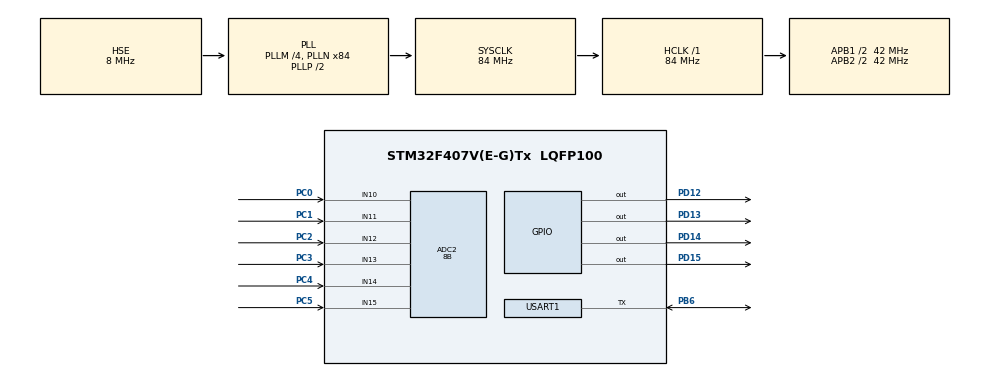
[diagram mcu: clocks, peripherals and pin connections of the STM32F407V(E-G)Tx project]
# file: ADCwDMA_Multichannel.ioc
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ADC2.Channel-0\#ChannelRegularConversion=ADC_CHANNEL_10
ADC2.Channel-1\#ChannelRegularConversion=ADC_CHANNEL_11
ADC2.Channel-2\#ChannelRegularConversion=ADC_CHANNEL_12
ADC2.Channel-3\#ChannelRegularConversion=ADC_CHANNEL_13
ADC2.Channel-4\#ChannelRegularConversion=ADC_CHANNEL_14
ADC2.Channel-5\#ChannelRegularConversion=ADC_CHANNEL_15
ADC2.ClockPrescaler=ADC_CLOCK_SYNC_PCLK_DIV4
ADC2.ContinuousConvMode=ENABLE
ADC2.DMAContinuousRequests=ENABLE
ADC2.DataAlign=ADC_DATAALIGN_RIGHT
ADC2.DiscontinuousConvMode=DISABLE
ADC2.EOCSelection=ADC_EOC_SINGLE_CONV
ADC2.EnableAnalogWatchDog=false
ADC2.ExternalTrigConv=ADC_SOFTWARE_START
ADC2.ExternalTrigConvEdge=ADC_EXTERNALTRIGCONVEDGE_NONE
ADC2.InjNumberOfConversion=0
ADC2.NbrOfConversion=6
ADC2.NbrOfConversionFlag=1
ADC2.Rank-0\#ChannelRegularConversion=1
ADC2.Rank-1\#ChannelRegularConversion=2
ADC2.Rank-2\#ChannelRegularConversion=3
ADC2.Rank-3\#ChannelRegularConversion=4
ADC2.Rank-4\#ChannelRegularConversion=5
ADC2.Rank-5\#ChannelRegularConversion=6
ADC2.Resolution=ADC_RESOLUTION_8B
ADC2.SamplingTime-0\#ChannelRegularConversion=ADC_SAMPLETIME_3CYCLES
ADC2.SamplingTime-1\#ChannelRegularConversion=ADC_SAMPLETIME_3CYCLES
ADC2.SamplingTime-2\#ChannelRegularConversion=ADC_SAMPLETIME_3CYCLES
ADC2.SamplingTime-3\#ChannelRegularConversion=ADC_SAMPLETIME_3CYCLES
ADC2.SamplingTime-4\#ChannelRegularConversion=ADC_SAMPLETIME_3CYCLES
ADC2.SamplingTime-5\#ChannelRegularConversion=ADC_SAMPLETIME_3CYCLES
ADC2.ScanConvMode=ENABLE
Dma.ADC2.0.Direction=DMA_PERIPH_TO_MEMORY
Dma.ADC2.0.FIFOMode=DMA_FIFOMODE_DISABLE
Dma.ADC2.0.Instance=DMA2_Stream3
Dma.ADC2.0.MemDataAlignment=DMA_MDATAALIGN_BYTE
Dma.ADC2.0.MemInc=DMA_MINC_ENABLE
Dma.ADC2.0.Mode=DMA_CIRCULAR
Dma.ADC2.0.PeriphDataAlignment=DMA_PDATAALIGN_BYTE
Dma.ADC2.0.PeriphInc=DMA_PINC_DISABLE
Dma.ADC2.0.Priority=DMA_PRIORITY_LOW
Dma.Request0=ADC2
Mcu.Family=STM32F4
Mcu.Name=STM32F407V(E-G)Tx
Mcu.Package=LQFP100
NVIC.DMA2_Stream3_IRQn=true\:0\:0\:false\:false\:true\:false
NVIC.PriorityGroup=NVIC_PRIORITYGROUP_4
PB6.Mode=Half_duplex(single_wire_mode)
PB6.Signal=USART1_TX
PC0.Signal=ADCx_IN10
PC1.Signal=ADCx_IN11
PC2.Signal=ADCx_IN12
PC3.Signal=ADCx_IN13
PC4.Signal=ADCx_IN14
PC5.Signal=ADCx_IN15
PD12.Signal=GPIO_Output
PD13.Signal=GPIO_Output
PD14.Signal=GPIO_Output
PD15.Signal=GPIO_Output
PH0-OSC_IN.Mode=HSE-External-Oscillator
PH0-OSC_IN.Signal=RCC_OSC_IN
PH1-OSC_OUT.Mode=HSE-External-Oscillator
PH1-OSC_OUT.Signal=RCC_OSC_OUT
ProjectManager.HeapSize=0x200
ProjectManager.StackSize=0x400
ProjectManager.TargetToolchain=SW4STM32
RCC.48MHZClocksFreq_Value=42000000
RCC.AHBFreq_Value=84000000
RCC.APB1CLKDivider=RCC_HCLK_DIV2
RCC.APB1Freq_Value=42000000
RCC.APB1TimFreq_Value=84000000
RCC.APB2CLKDivider=RCC_HCLK_DIV2
RCC.APB2Freq_Value=42000000
RCC.APB2TimFreq_Value=84000000
RCC.CortexFreq_Value=84000000
RCC.HCLKFreq_Value=84000000
RCC.HSE_VALUE=8000000
RCC.HSI_VALUE=16000000
RCC.LSE_VALUE=32768
RCC.PLLM=4
RCC.PLLN=84
RCC.PLLSourceVirtual=RCC_PLLSOURCE_HSE
RCC.SYSCLKFreq_VALUE=84000000
RCC.SYSCLKSource=RCC_SYSCLKSOURCE_PLLCLK
RCC.VCOOutputFreq_Value=168000000
SH.ADCx_IN10.0=ADC2_IN10,IN10
SH.ADCx_IN11.0=ADC2_IN11,IN11
SH.ADCx_IN12.0=ADC2_IN12,IN12
SH.ADCx_IN13.0=ADC2_IN13,IN13
SH.ADCx_IN14.0=ADC2_IN14,IN14
SH.ADCx_IN15.0=ADC2_IN15,IN15
USART1.VirtualMode=VM_ASYNC
board=ADCwDMA_Multichannel

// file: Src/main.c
/**
  ******************************************************************************
  * @file           : main.c
  * @brief          : Main program body
  ******************************************************************************
  ** This notice applies to any and all portions of this file
  * that are not between comment pairs USER CODE BEGIN and
  * USER CODE END. Other portions of this file, whether
  * inserted by the user or by software development tools
  * are owned by their respective copyright owners.
  *
  * COPYRIGHT(c) 2018 STMicroelectronics
  *
  * Redistribution and use in source and binary forms, with or without modification,
  * are permitted provided that the following conditions are met:
  *   1. Redistributions of source code must retain the above copyright notice,
  *      this list of conditions and the following disclaimer.
  *   2. Redistributions in binary form must reproduce the above copyright notice,
  *      this list of conditions and the following disclaimer in the documentation
  *      and/or other materials provided with the distribution.
  *   3. Neither the name of STMicroelectronics nor the names of its contributors
  *      may be used to endorse or promote products derived from this software
  *      without specific prior written permission.
  *
  * THIS SOFTWARE IS PROVIDED BY THE COPYRIGHT HOLDERS AND CONTRIBUTORS "AS IS"
  * AND ANY EXPRESS OR IMPLIED WARRANTIES, INCLUDING, BUT NOT LIMITED TO, THE
  * IMPLIED WARRANTIES OF MERCHANTABILITY AND FITNESS FOR A PARTICULAR PURPOSE ARE
  * DISCLAIMED. IN NO EVENT SHALL THE COPYRIGHT HOLDER OR CONTRIBUTORS BE LIABLE
  * FOR ANY DIRECT, INDIRECT, INCIDENTAL, SPECIAL, EXEMPLARY, OR CONSEQUENTIAL
  * DAMAGES (INCLUDING, BUT NOT LIMITED TO, PROCUREMENT OF SUBSTITUTE GOODS OR
  * SERVICES; LOSS OF USE, DATA, OR PROFITS; OR BUSINESS INTERRUPTION) HOWEVER
  * CAUSED AND ON ANY THEORY OF LIABILITY, WHETHER IN CONTRACT, STRICT LIABILITY,
  * OR TORT (INCLUDING NEGLIGENCE OR OTHERWISE) ARISING IN ANY WAY OUT OF THE USE
  * OF THIS SOFTWARE, EVEN IF ADVISED OF THE POSSIBILITY OF SUCH DAMAGE.
  *
  ******************************************************************************
  */
#include "main.h"
#include "stm32f4xx_hal.h"

ADC_HandleTypeDef hadc2;
DMA_HandleTypeDef hdma_adc2;

UART_HandleTypeDef huart1;

/* USER CODE BEGIN PV */
/* Private variables ---------------------------------------------------------*/

/* USER CODE END PV */

void SystemClock_Config(void);
static void MX_GPIO_Init(void);
static void MX_DMA_Init(void);
static void MX_ADC2_Init(void);
static void MX_USART1_UART_Init(void);

/* USER CODE BEGIN PFP */
/* Private function prototypes -----------------------------------------------*/

//void bubbleSort(uint16_t*, uint8_t);
//uint16_t ADC_GetSampleAvgNDeleteXADC2(uint8_t, uint8_t);
//uint16_t ADC_GetSampleAvgNDeleteXADC3(uint8_t, uint8_t);

#ifdef __GNUC__

		#define PUTCHAR_PROTOTYPE int __io_putchar(int ch)
#else
		#define PUTCHAR_PROTOTYPE int fputc(int ch, FILE *f)

#endif /*__GNUC__*/

PUTCHAR_PROTOTYPE
{
	HAL_UART_Transmit(&huart1, (uint8_t *)&ch, 1, 0xFFFF);
	return ch;
}

/* USER CODE END PFP */

/* USER CODE BEGIN 0 */

__IO uint8_t adcVal[6], adcVal1[4], adcVal2[4];
__IO double adcVal_mV[6], adcVal_mV1[4];

/* USER CODE END 0 */

int main(void)
{

  /* MCU Configuration----------------------------------------------------------*/

  /* Reset of all peripherals, Initializes the Flash interface and the Systick. */
  HAL_Init();

  /* Configure the system clock */
  SystemClock_Config();

  /* Initialize all configured peripherals */
  MX_GPIO_Init();
  MX_DMA_Init();
  MX_ADC2_Init();
  MX_USART1_UART_Init();
  /* USER CODE BEGIN 2 */

  printf("Hello1\r\n");

  HAL_ADC_Start_DMA(&hadc2,adcVal,6);
  //HAL_ADC_Start_DMA(&hadc3,adcVal2,4);
  __IO uint8_t a = 5;
  a++;
  printf("Hello2\r\n");
  printf("Hello3\r\n");
  /* USER CODE END 2 */

  /* Infinite loop */
  while (1)
  {

  /* USER CODE BEGIN 3 */

		//adcVal = 512;
	  //printf("%d\r\n", a);

//		HAL_ADC_Start(&hadc2);
//		HAL_ADC_PollForConversion(&hadc2, 100);
//		adcVal[0] = HAL_ADC_GetValue(&hadc2);
//		HAL_ADC_PollForConversion(&hadc2, 100);
//		adcVal[1] = HAL_ADC_GetValue(&hadc2);
//		HAL_ADC_Stop(&hadc2);

		//adcVal_mV[0] = adcVal[0] * 0.000806;  //adcVal * 3,3 /4096
		//adcVal_mV[1] = adcVal[1] * 0.000806;  //adcVal * 3,3 /4096
		adcVal_mV[0] = adcVal[0] * 0.0129;  //adcVal * 3,3 /255
		adcVal_mV[1] = adcVal[1] * 0.0129;  //adcVal * 3,3 /255
		adcVal_mV[2] = adcVal[2] * 0.0129;  //adcVal * 3,3 /255
		adcVal_mV[3] = adcVal[3] * 0.0129;  //adcVal * 3,3 /255
		adcVal_mV[4] = adcVal[4] * 0.0129;  //adcVal * 3,3 /255
		adcVal_mV[5] = adcVal[5] * 0.0129;  //adcVal * 3,3 /255
		//adcVal = ADC_GetSampleAvgNDeleteX(8 , 4);
		//adcVal_mV = adcVal * 0.00073;  //adcVal * 3 /4096 --- Vref for ADC 3V in STM32
		//adcVal_mV = adcVal * 0.0029;
	  //printf("ADC1: %d\t%.3fmV\t\tADC2: %d\t%.3fmV\r\n", adcVal[0],adcVal_mV[0],adcVal[1],adcVal_mV[1]);
		printf("%.3fV\t%.3fV\t%.3fV\t%.3fV\t%.3fV\t%.3fV\r\n", adcVal_mV[0],adcVal_mV[1],adcVal_mV[2],adcVal_mV[3],adcVal_mV[4],adcVal_mV[5]);
	 //printf("ADC1: %d\t\tmV: %.3f\nADC2: %d\t\tmV: %.3f\nADC3: %d\t\tmV: %.3f\nADC4: %d\t\tmV: %.3f\n\r", adcVal1[0],adcVal_mV1[0],adcVal1[1],adcVal_mV1[1],adcVal1[2],adcVal_mV1[2],adcVal1[3],adcVal_mV1[3]);
	 HAL_Delay(200);

  }
  /* USER CODE END 3 */

}

void SystemClock_Config(void)
{

  RCC_OscInitTypeDef RCC_OscInitStruct;
  RCC_ClkInitTypeDef RCC_ClkInitStruct;

    /**Configure the main internal regulator output voltage
    */
  __HAL_RCC_PWR_CLK_ENABLE();

  __HAL_PWR_VOLTAGESCALING_CONFIG(PWR_REGULATOR_VOLTAGE_SCALE1);

    /**Initializes the CPU, AHB and APB busses clocks
    */
  RCC_OscInitStruct.OscillatorType = RCC_OSCILLATORTYPE_HSE;
  RCC_OscInitStruct.HSEState = RCC_HSE_ON;
  RCC_OscInitStruct.PLL.PLLState = RCC_PLL_ON;
  RCC_OscInitStruct.PLL.PLLSource = RCC_PLLSOURCE_HSE;
  RCC_OscInitStruct.PLL.PLLM = 4;
  RCC_OscInitStruct.PLL.PLLN = 84;
  RCC_OscInitStruct.PLL.PLLP = RCC_PLLP_DIV2;
  RCC_OscInitStruct.PLL.PLLQ = 4;
  if (HAL_RCC_OscConfig(&RCC_OscInitStruct) != HAL_OK)
  {
    _Error_Handler(__FILE__, __LINE__);
  }

    /**Initializes the CPU, AHB and APB busses clocks
    */
  RCC_ClkInitStruct.ClockType = RCC_CLOCKTYPE_HCLK|RCC_CLOCKTYPE_SYSCLK
                              |RCC_CLOCKTYPE_PCLK1|RCC_CLOCKTYPE_PCLK2;
  RCC_ClkInitStruct.SYSCLKSource = RCC_SYSCLKSOURCE_PLLCLK;
  RCC_ClkInitStruct.AHBCLKDivider = RCC_SYSCLK_DIV1;
  RCC_ClkInitStruct.APB1CLKDivider = RCC_HCLK_DIV2;
  RCC_ClkInitStruct.APB2CLKDivider = RCC_HCLK_DIV2;

  if (HAL_RCC_ClockConfig(&RCC_ClkInitStruct, FLASH_LATENCY_2) != HAL_OK)
  {
    _Error_Handler(__FILE__, __LINE__);
  }

    /**Configure the Systick interrupt time
    */
  HAL_SYSTICK_Config(HAL_RCC_GetHCLKFreq()/1000);

    /**Configure the Systick
    */
  HAL_SYSTICK_CLKSourceConfig(SYSTICK_CLKSOURCE_HCLK);

  /* SysTick_IRQn interrupt configuration */
  HAL_NVIC_SetPriority(SysTick_IRQn, 0, 0);
}

/* ADC2 init function */
static void MX_ADC2_Init(void)
{

  ADC_ChannelConfTypeDef sConfig;

    /**Configure the global features of the ADC (Clock, Resolution, Data Alignment and number of conversion)
    */
  hadc2.Instance = ADC2;
  hadc2.Init.ClockPrescaler = ADC_CLOCK_SYNC_PCLK_DIV4;
  hadc2.Init.Resolution = ADC_RESOLUTION_8B;
  hadc2.Init.ScanConvMode = ENABLE;
  hadc2.Init.ContinuousConvMode = ENABLE;
  hadc2.Init.DiscontinuousConvMode = DISABLE;
  hadc2.Init.ExternalTrigConvEdge = ADC_EXTERNALTRIGCONVEDGE_NONE;
  hadc2.Init.ExternalTrigConv = ADC_SOFTWARE_START;
  hadc2.Init.DataAlign = ADC_DATAALIGN_RIGHT;
  hadc2.Init.NbrOfConversion = 6;
  hadc2.Init.DMAContinuousRequests = ENABLE;
  hadc2.Init.EOCSelection = ADC_EOC_SINGLE_CONV;
  if (HAL_ADC_Init(&hadc2) != HAL_OK)
  {
    _Error_Handler(__FILE__, __LINE__);
  }

    /**Configure for the selected ADC regular channel its corresponding rank in the sequencer and its sample time.
    */
  sConfig.Channel = ADC_CHANNEL_10;
  sConfig.Rank = 1;
  sConfig.SamplingTime = ADC_SAMPLETIME_3CYCLES;
  if (HAL_ADC_ConfigChannel(&hadc2, &sConfig) != HAL_OK)
  {
    _Error_Handler(__FILE__, __LINE__);
  }

    /**Configure for the selected ADC regular channel its corresponding rank in the sequencer and its sample time.
    */
  sConfig.Channel = ADC_CHANNEL_11;
  sConfig.Rank = 2;
  if (HAL_ADC_ConfigChannel(&hadc2, &sConfig) != HAL_OK)
  {
    _Error_Handler(__FILE__, __LINE__);
  }

    /**Configure for the selected ADC regular channel its corresponding rank in the sequencer and its sample time.
    */
  sConfig.Channel = ADC_CHANNEL_12;
  sConfig.Rank = 3;
  if (HAL_ADC_ConfigChannel(&hadc2, &sConfig) != HAL_OK)
  {
    _Error_Handler(__FILE__, __LINE__);
  }

    /**Configure for the selected ADC regular channel its corresponding rank in the sequencer and its sample time.
    */
  sConfig.Channel = ADC_CHANNEL_13;
  sConfig.Rank = 4;
  if (HAL_ADC_ConfigChannel(&hadc2, &sConfig) != HAL_OK)
  {
    _Error_Handler(__FILE__, __LINE__);
  }

    /**Configure for the selected ADC regular channel its corresponding rank in the sequencer and its sample time.
    */
  sConfig.Channel = ADC_CHANNEL_14;
  sConfig.Rank = 5;
  if (HAL_ADC_ConfigChannel(&hadc2, &sConfig) != HAL_OK)
  {
    _Error_Handler(__FILE__, __LINE__);
  }

    /**Configure for the selected ADC regular channel its corresponding rank in the sequencer and its sample time.
    */
  sConfig.Channel = ADC_CHANNEL_15;
  sConfig.Rank = 6;
  if (HAL_ADC_ConfigChannel(&hadc2, &sConfig) != HAL_OK)
  {
    _Error_Handler(__FILE__, __LINE__);
  }

}

/* USART1 init function */
static void MX_USART1_UART_Init(void)
{

  huart1.Instance = USART1;
  huart1.Init.BaudRate = 115200;
  huart1.Init.WordLength = UART_WORDLENGTH_8B;
  huart1.Init.StopBits = UART_STOPBITS_1;
  huart1.Init.Parity = UART_PARITY_NONE;
  huart1.Init.Mode = UART_MODE_TX_RX;
  huart1.Init.HwFlowCtl = UART_HWCONTROL_NONE;
  huart1.Init.OverSampling = UART_OVERSAMPLING_16;
  if (HAL_HalfDuplex_Init(&huart1) != HAL_OK)
  {
    _Error_Handler(__FILE__, __LINE__);
  }

}

static void MX_DMA_Init(void)
{
  /* DMA controller clock enable */
  __HAL_RCC_DMA2_CLK_ENABLE();

  /* DMA interrupt init */
  /* DMA2_Stream3_IRQn interrupt configuration */
  HAL_NVIC_SetPriority(DMA2_Stream3_IRQn, 0, 0);
  HAL_NVIC_EnableIRQ(DMA2_Stream3_IRQn);

}

/** Configure pins as
        * Analog
        * Input
        * Output
        * EVENT_OUT
        * EXTI
*/
static void MX_GPIO_Init(void)
{

  GPIO_InitTypeDef GPIO_InitStruct;

  /* GPIO Ports Clock Enable */
  __HAL_RCC_GPIOH_CLK_ENABLE();
  __HAL_RCC_GPIOC_CLK_ENABLE();
  __HAL_RCC_GPIOD_CLK_ENABLE();
  __HAL_RCC_GPIOB_CLK_ENABLE();

  /*Configure GPIO pin Output Level */
  HAL_GPIO_WritePin(GPIOD, GPIO_PIN_12|GPIO_PIN_13|GPIO_PIN_14|GPIO_PIN_15, GPIO_PIN_RESET);

  /*Configure GPIO pins : PD12 PD13 PD14 PD15 */
  GPIO_InitStruct.Pin = GPIO_PIN_12|GPIO_PIN_13|GPIO_PIN_14|GPIO_PIN_15;
  GPIO_InitStruct.Mode = GPIO_MODE_OUTPUT_PP;
  GPIO_InitStruct.Pull = GPIO_NOPULL;
  GPIO_InitStruct.Speed = GPIO_SPEED_FREQ_LOW;
  HAL_GPIO_Init(GPIOD, &GPIO_InitStruct);

}

void _Error_Handler(char *file, int line)
{
  while(1)
  {
  }
}

/************************ (C) COPYRIGHT STMicroelectronics *****END OF FILE****/
